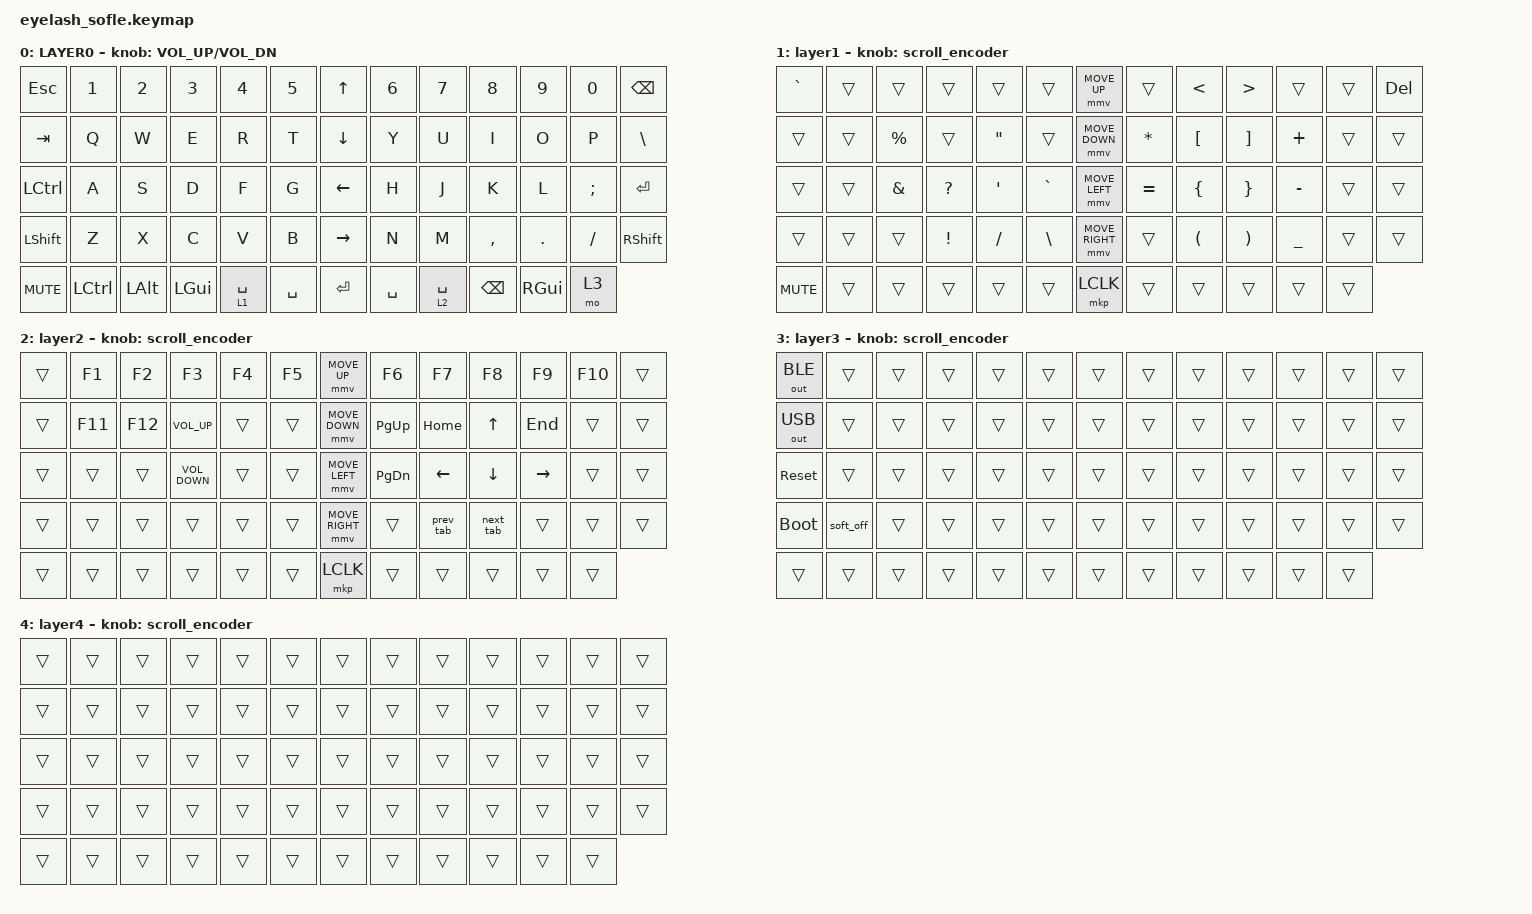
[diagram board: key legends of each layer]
#define ZMK_POINTING_DEFAULT_MOVE_VAL 1200  // 600
#define ZMK_POINTING_DEFAULT_SCRL_VAL 25   // 10

#include <input/processors.dtsi>
#include <zephyr/dt-bindings/input/input-event-codes.h>
#include <behaviors.dtsi>
#include <dt-bindings/zmk/keys.h>
#include <dt-bindings/zmk/outputs.h>
#include <dt-bindings/zmk/pointing.h>

&mmv_input_listener { input-processors = <&zip_xy_scaler 2 1>; };

&msc_input_listener { input-processors = <&zip_scroll_scaler 2 1>; };

&msc {
    acceleration-exponent = <1>;      // 0
    time-to-max-speed-ms = <100>;       // 300
    delay-ms = <0>;                   // 0
};

&mmv {
    time-to-max-speed-ms = <500>;
    acceleration-exponent = <1>;
    trigger-period-ms = <16>;
};

&soft_off { hold-time-ms = <2000>; };

/ {
    scroll_encoder: scroll_encoder {
        compatible = "zmk,behavior-sensor-rotate";
        #sensor-binding-cells = <0>;
        bindings = <&msc SCRL_DOWN>, <&msc SCRL_UP>;

        tap-ms = <100>;
    };

    behaviors {
    };

    combos {
        compatible = "zmk,combos";

        softoff {
            bindings = <&soft_off>;
            key-positions = <14 28 40>;
        };
    };

    macros {
        prev_tab: SHIFT_MCLK {
            compatible = "zmk,behavior-macro";
            #binding-cells = <0>;
            bindings =
                <&macro_press>,
                <&kp LEFT_GUI &kp LEFT_ALT>,
                <&macro_tap>,
                <&kp LEFT_ARROW>,
                <&macro_release>,
                <&kp LEFT_GUI &kp LEFT_ALT>;

            label = "SHIFT_MCLK";
        };

        next_tab: next_tab {
            compatible = "zmk,behavior-macro";
            #binding-cells = <0>;
            bindings =
                <&macro_press>,
                <&kp LEFT_GUI &kp LEFT_ALT>,
                <&macro_tap>,
                <&kp RIGHT>,
                <&macro_release>,
                <&kp LEFT_GUI &kp LEFT_ALT>;

            label = "NEXT_TAB";
        };
    };

    keymap {
        compatible = "zmk,keymap";

        layer0 {
            bindings = <
&kp ESC           &kp N1     &kp N2        &kp N3        &kp N4       &kp N5       &kp UP_ARROW     &kp N6     &kp N7       &kp N8         &kp N9         &kp N0    &kp BACKSPACE
&kp TAB           &kp Q      &kp W         &kp E         &kp R        &kp T        &kp DOWN_ARROW   &kp Y      &kp U        &kp I          &kp O          &kp P     &kp BSLH
&kp LEFT_CONTROL  &kp A      &kp S         &kp D         &kp F        &kp G        &kp LEFT_ARROW   &kp H      &kp J        &kp K          &kp L          &kp SEMI  &kp ENTER
&kp LSHFT         &kp Z      &kp X         &kp C         &kp V        &kp B        &kp RIGHT_ARROW  &kp N      &kp M        &kp COMMA      &kp DOT        &kp FSLH  &kp RIGHT_SHIFT
&kp C_MUTE        &kp LCTRL  &kp LEFT_ALT  &kp LEFT_GUI  &lt 1 SPACE  &kp SPACE    &kp ENTER        &kp SPACE  &lt 2 SPACE  &kp BACKSPACE  &kp RIGHT_GUI  &mo 3
            >;

            sensor-bindings = <&inc_dec_kp C_VOLUME_UP C_VOL_DN>;
            display-name = "LAYER0";
        };

        layer_1 {
            bindings = <
&kp GRAVE   &trans  &trans         &trans           &trans             &trans           &mmv MOVE_UP     &trans        &kp LT            &kp GREATER_THAN   &trans          &trans  &kp DELETE
&trans      &trans  &kp PERCENT    &trans           &kp DOUBLE_QUOTES  &trans           &mmv MOVE_DOWN   &kp ASTERISK  &kp LEFT_BRACKET  &kp RIGHT_BRACKET  &kp PLUS        &trans  &trans
&trans      &trans  &kp AMPERSAND  &kp QUESTION     &kp SINGLE_QUOTE   &kp GRAVE        &mmv MOVE_LEFT   &kp EQUAL     &kp LEFT_BRACE    &kp RIGHT_BRACE    &kp MINUS       &trans  &trans
&trans      &trans  &trans         &kp EXCLAMATION  &kp SLASH          &kp BACKSLASH    &mmv MOVE_RIGHT  &trans        &kp LPAR          &kp RPAR           &kp UNDERSCORE  &trans  &trans
&kp C_MUTE  &trans  &trans         &trans           &trans             &trans           &mkp LCLK        &trans        &trans            &trans             &trans          &trans
            >;

            display-name = "layer1";
            sensor-bindings = <&scroll_encoder>;
        };

        layer_2 {
            bindings = <
&trans  &kp F1   &kp F2   &kp F3             &kp F4  &kp F5    &mmv MOVE_UP     &kp F6         &kp F7     &kp F8        &kp F9     &kp F10  &trans
&trans  &kp F11  &kp F12  &kp K_VOLUME_UP    &trans  &trans    &mmv MOVE_DOWN   &kp PAGE_UP    &kp HOME   &kp UP_ARROW  &kp END    &trans   &trans
&trans  &trans   &trans   &kp K_VOLUME_DOWN  &trans  &trans    &mmv MOVE_LEFT   &kp PAGE_DOWN  &kp LEFT   &kp DOWN      &kp RIGHT  &trans   &trans
&trans  &trans   &trans   &trans             &trans  &trans    &mmv MOVE_RIGHT  &trans         &prev_tab  &next_tab     &trans     &trans   &trans
&trans  &trans   &trans   &trans             &trans  &trans    &mkp LCLK        &trans         &trans     &trans        &trans     &trans
            >;

            display-name = "layer2";
            sensor-bindings = <&scroll_encoder>;
        };

        layer_3 {
            bindings = <
&out OUT_BLE  &trans     &trans  &trans  &trans  &trans    &trans  &trans  &trans  &trans  &trans  &trans  &trans
&out OUT_USB  &trans     &trans  &trans  &trans  &trans    &trans  &trans  &trans  &trans  &trans  &trans  &trans
&sys_reset    &trans     &trans  &trans  &trans  &trans    &trans  &trans  &trans  &trans  &trans  &trans  &trans
&bootloader   &soft_off  &trans  &trans  &trans  &trans    &trans  &trans  &trans  &trans  &trans  &trans  &trans
&trans        &trans     &trans  &trans  &trans  &trans    &trans  &trans  &trans  &trans  &trans  &trans
            >;

            display-name = "layer3";
            sensor-bindings = <&scroll_encoder>;
        };

        layer_4 {
            bindings = <
&trans  &trans  &trans  &trans  &trans  &trans    &trans  &trans  &trans  &trans  &trans  &trans  &trans
&trans  &trans  &trans  &trans  &trans  &trans    &trans  &trans  &trans  &trans  &trans  &trans  &trans
&trans  &trans  &trans  &trans  &trans  &trans    &trans  &trans  &trans  &trans  &trans  &trans  &trans
&trans  &trans  &trans  &trans  &trans  &trans    &trans  &trans  &trans  &trans  &trans  &trans  &trans
&trans  &trans  &trans  &trans  &trans  &trans    &trans  &trans  &trans  &trans  &trans  &trans
            >;

            display-name = "layer4";
            sensor-bindings = <&scroll_encoder>;
        };
    };
};
